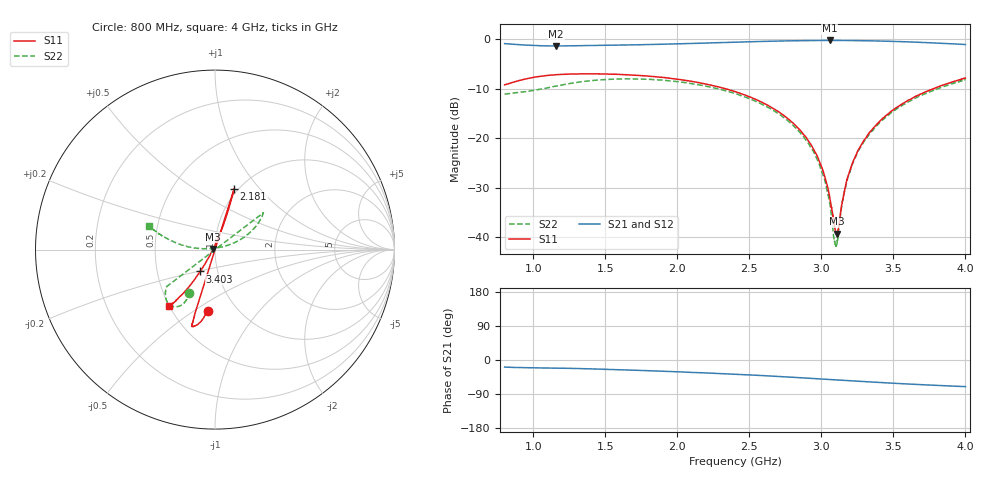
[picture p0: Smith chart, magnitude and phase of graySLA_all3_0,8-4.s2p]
!Created with skrf (http://scikit-rf.org).
# GHz S RI R 50.0
!freq ReS11 ImS11 ReS21 ImS21 ReS12 ImS12 ReS22 ImS22
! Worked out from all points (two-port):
!   5001 points, 800 MHz to 4 GHz, reference 50 ohm
!   highest |S21| = -0.25 dB at 3.059 GHz (marker M1); lowest = -1.4 dB at 1.158 GHz (marker M2)
!   |S21| within 3 dB of the highest: start of sweep to end of sweep
!   lowest |S11| = -39.3 dB at 3.106 GHz (marker M3), VSWR 1.02, Z = 49 + j0.385 ohm
!   |S11| at or under -10 dB: 2.333 GHz to 3.778 GHz (1.446 GHz wide, 47.3 % of centre)
!   |S22| runs from -41.8 to -8.0 dB; largest |S21 - S12| = 0.0052
!   S11 on the Smith chart (normalised r, x): 800 MHz: 0.73, -0.57; 2.181 GHz: 0.96, +0.74; 3.403 GHz: 0.82, -0.20; 4 GHz: 0.50, -0.38
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0.8  -0.0408 -0.3442  0.8556 -0.2883  0.8559 -0.2881  -0.1426 -0.2415
1.15776  -0.1103 -0.4245  0.7955 -0.3133  0.7963 -0.3115  -0.1669 -0.2913
1.33376  -0.1255 -0.4287  0.7928 -0.3329  0.7932 -0.3331  -0.1983 -0.3148
1.86688  -0.1215 -0.3973  0.7752 -0.4334  0.7771 -0.4322  -0.2723 -0.2769
2.16448  -0.1082 -0.344  0.7591 -0.5045  0.7609 -0.504  -0.2709 -0.2108
2.18112  0.1069 0.34  0.758 -0.5084  0.7597 -0.5086  0.2695 0.2058
2.19712  0.1064 0.3364  0.7573 -0.5129  0.7587 -0.5127  0.2687 0.2023
2.4  0.0914 0.2818  0.7394 -0.5693  0.7404 -0.5691  0.2408 0.1474
2.71808  0.0579 0.1688  0.6921 -0.664  0.6926 -0.6627  0.1577 0.0666
2.93376  0.024 0.0799  0.6411 -0.7273  0.6413 -0.7259  0.0739 0.0245
3.01248  0.00887 0.0456  0.6184 -0.7488  0.6198 -0.7468  0.0395 0.0146
3.05856  -1.42e-05 0.0249  0.6051 -0.7604  0.6062 -0.7584  0.0185 0.0114
3.08992  -0.00664 0.0115  0.5953 -0.7676  0.5967 -0.7657  0.00435 0.0083
3.10592  -0.0102 0.00392  0.5901 -0.7715  0.5911 -0.77  -0.00326 0.00752
3.12  -0.0125 -0.00152  0.5857 -0.7746  0.5872 -0.7725  -0.00971 0.00663
3.1552  -0.0207 -0.0169  0.5744 -0.7825  0.5765 -0.7796  -0.0268 0.00483
3.20896  -0.0334 -0.0407  0.5567 -0.7936  0.5587 -0.7911  -0.0512 0.00513
3.2896  -0.0533 -0.0755  0.5297 -0.808  0.5309 -0.8059  -0.0892 0.00709
3.40288  -0.0835 -0.1216  0.4904 -0.8236  0.4905 -0.8224  -0.1419 0.0146
3.46688  -0.1001 -0.1469  0.4677 -0.8309  0.468 -0.8293  -0.1703 0.0214
3.67808  -0.1595 -0.2238  0.3965 -0.8422  0.3951 -0.8415  -0.2588 0.0566
4  -0.2543 -0.3156  0.299 -0.832  0.2997 -0.8314  -0.3683 0.1307
